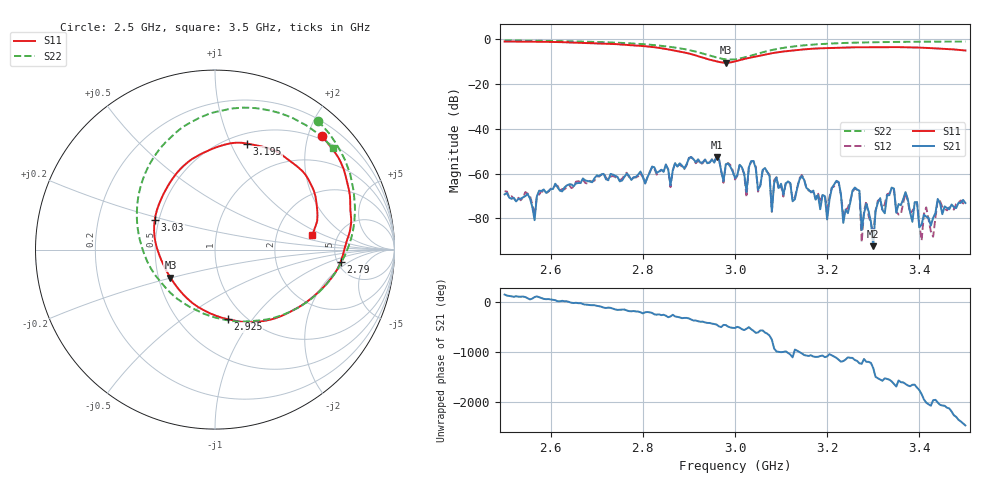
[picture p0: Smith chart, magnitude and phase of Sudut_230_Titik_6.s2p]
# Hz S RI R 50
! CMT, C1220, 16058040, 17.2.0/1
! Date: 15/08/2018 10:18:48
! Data: Format (Calibration Info)
! Freq  S11: Re/Im (F2)  S21: Re/Im (F2)  S12: Re/Im (F2)  S22: Re/Im (F2)
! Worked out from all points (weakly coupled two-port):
!   201 points, 2.5 GHz to 3.5 GHz, reference 50 ohm
!   highest |S21| = -52.63 dB at 2.96 GHz (marker M1); lowest = -92.4 dB at 3.3 GHz (marker M2)
!   lowest |S11| = -10.6 dB at 2.98 GHz (marker M3), VSWR 1.83, Z = 28.9 - j9.9 ohm
!   |S11| at or under -10 dB: 2.958 GHz to 3.001 GHz (43.08 MHz wide, 1.45 % of centre)
!   |S22| runs from -9.2 to -0.7 dB; largest |S21 - S12| = 0.00016
!   S11 on the Smith chart (normalised r, x): 2.5 GHz: 0.43, +2.24; 2.79 GHz: 5.36, -1.42; 2.925 GHz: 0.83, -0.77; 3.03 GHz: 0.48, +0.18; 3.195 GHz: 0.61, +1.16; 3.5 GHz: 3.23, +0.75
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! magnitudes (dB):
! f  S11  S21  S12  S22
! 2.5 GHz  -1.2  -69.3  -67.9  -0.7
! 2.565 GHz  -1.3  -80.8  -78.8  -0.9
! 2.575 GHz  -1.3  -67.6  -69.3  -0.9
! 2.67 GHz  -1.8  -62.2  -62.7  -1.2
! 2.79 GHz  -3.1  -60.4  -61.2  -2.2
! 2.835 GHz  -4.1  -59.1  -59.4  -3.0
! 2.925 GHz  -8.1  -55.2  -55.8  -6.3
! 2.96 GHz  -10.1  -52.6  -52.3  -8.3
! 2.98 GHz  -10.6  -55.9  -56.2  -9.1
! 3 GHz  -10.1  -62.0  -62.7  -9.2
! 3.015 GHz  -9.2  -57.3  -57.1  -8.6
! 3.025 GHz  -8.8  -68.2  -70.5  -8.1
! 3.03 GHz  -8.5  -57.3  -57.3  -7.8
! 3.075 GHz  -6.6  -61.2  -60.5  -5.2
! 3.08 GHz  -6.4  -76.9  -77.1  -5.0
! 3.09 GHz  -6.1  -61.8  -61.6  -4.6
! 3.17 GHz  -4.4  -67.6  -68.3  -2.6
! 3.195 GHz  -4.2  -70.0  -69.6  -2.3
! 3.26 GHz  -3.8  -66.2  -66.6  -1.7
! 3.3 GHz  -3.8  -92.4  -87.1  -1.5
! 3.335 GHz  -3.7  -69.6  -68.8  -1.4
! 3.5 GHz  -5.2  -73.1  -74.2  -1.3
